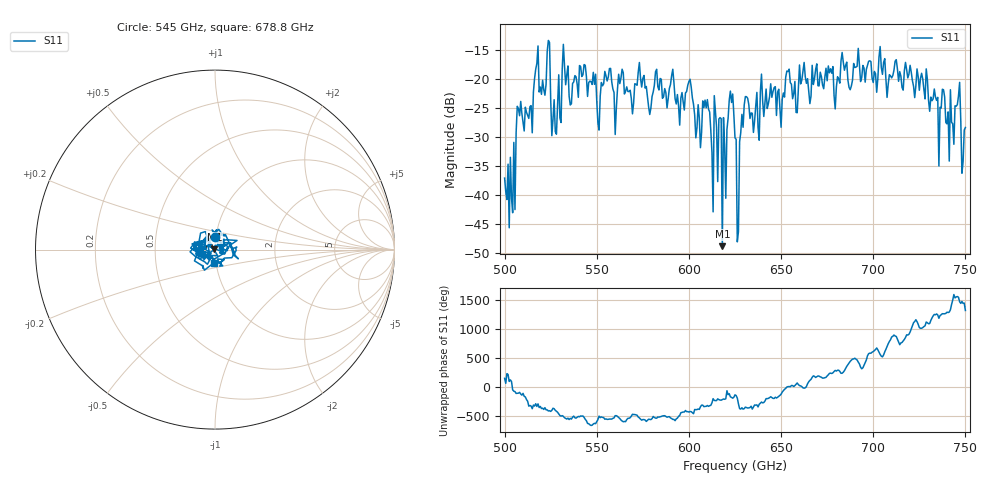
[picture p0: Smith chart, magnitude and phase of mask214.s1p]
!Created with skrf (http://scikit-rf.org).
# GHz S MA R 50.0
!freq magS11 angS11
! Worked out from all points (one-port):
!   401 points, 500 GHz to 750 GHz, reference 50 ohm
!   lowest |S11| = -48.8 dB at 618.1 GHz (marker M1), VSWR 1.01, Z = 49.7 + j0.224 ohm
!   |S11| at or under -10 dB: start of sweep to end of sweep
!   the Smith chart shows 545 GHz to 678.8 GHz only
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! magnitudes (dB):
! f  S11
! 500 GHz  -37.0
! 504.4 GHz  -43.0
! 507.5 GHz  -25.0
! 513.8 GHz  -24.7
! 516.9 GHz  -18.3
! 523.8 GHz  -13.3
! 526.9 GHz  -23.5
! 531.2 GHz  -18.3
! 542.5 GHz  -19.2
! 551.2 GHz  -28.8
! 562.5 GHz  -20.7
! 593.8 GHz  -22.6
! 600 GHz  -20.4
! 605 GHz  -24.4
! 608.8 GHz  -23.6
! 611.9 GHz  -28.8
! 618.1 GHz  -48.8
! 619.4 GHz  -31.4
! 623.1 GHz  -24.0
! 625 GHz  -30.1
! 626.9 GHz  -46.2
! 631.2 GHz  -23.0
! 656.2 GHz  -23.3
! 687.5 GHz  -21.8
! 718.8 GHz  -19.8
! 742.5 GHz  -27.4
! 745.6 GHz  -24.4
! 750 GHz  -28.3
